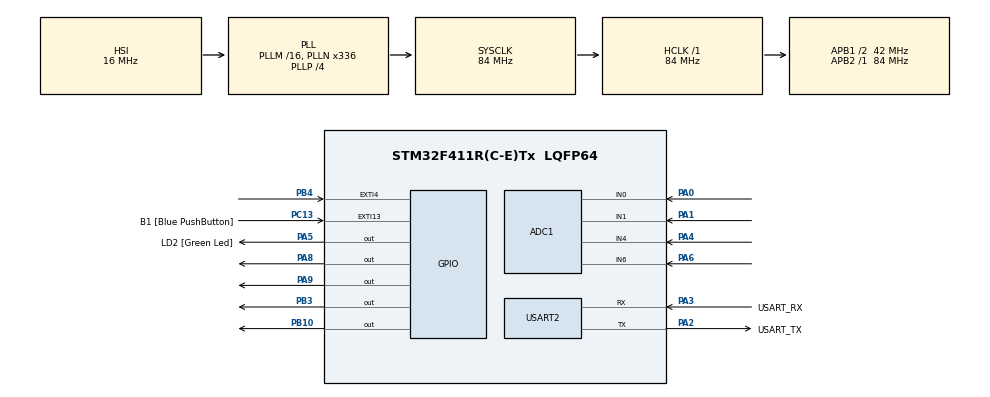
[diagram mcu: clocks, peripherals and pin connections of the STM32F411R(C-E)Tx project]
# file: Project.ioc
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ADC1.Channel-0\#ChannelRegularConversion=ADC_CHANNEL_0
ADC1.Channel-1\#ChannelRegularConversion=ADC_CHANNEL_1
ADC1.Channel-2\#ChannelRegularConversion=ADC_CHANNEL_4
ADC1.Channel-3\#ChannelRegularConversion=ADC_CHANNEL_6
ADC1.ContinuousConvMode=ENABLE
ADC1.NbrOfConversion=4
ADC1.NbrOfConversionFlag=1
ADC1.Rank-0\#ChannelRegularConversion=1
ADC1.Rank-1\#ChannelRegularConversion=2
ADC1.Rank-2\#ChannelRegularConversion=3
ADC1.Rank-3\#ChannelRegularConversion=4
ADC1.SamplingTime-0\#ChannelRegularConversion=ADC_SAMPLETIME_480CYCLES
ADC1.SamplingTime-1\#ChannelRegularConversion=ADC_SAMPLETIME_480CYCLES
ADC1.SamplingTime-2\#ChannelRegularConversion=ADC_SAMPLETIME_480CYCLES
ADC1.SamplingTime-3\#ChannelRegularConversion=ADC_SAMPLETIME_480CYCLES
ADC1.master=1
FREERTOS.Events01=myEvent01,Dynamic,NULL
FREERTOS.Mutexes01=myMutex01,Dynamic,NULL
FREERTOS.Queues01=myQueue01,8,struct valorADC,0,Dynamic,NULL,NULL
FREERTOS.Tasks01=defaultTask,24,256,StartDefaultTask,Default,NULL,Dynamic,NULL,NULL;myTask02,8,256,StartTask02,Default,NULL,Dynamic,NULL,NULL;myTask03,8,256,StartTask03,Default,NULL,Dynamic,NULL,NULL;myTask04,8,128,StartTask04,Default,NULL,Dynamic,NULL,NULL;myTask05,8,128,StartTask05,Default,NULL,Dynamic,NULL,NULL
Mcu.Family=STM32F4
Mcu.Name=STM32F411R(C-E)Tx
Mcu.Package=LQFP64
NVIC.EXTI4_IRQn=true\:5\:0\:false\:false\:true\:true\:true\:true
NVIC.PriorityGroup=NVIC_PRIORITYGROUP_4
NVIC.USART2_IRQn=true\:5\:0\:false\:false\:true\:true\:true\:true
PA0-WKUP.Signal=ADCx_IN0
PA1.Signal=ADCx_IN1
PA13.GPIO_Label=TMS
PA13.Mode=Serial_Wire
PA13.Signal=SYS_JTMS-SWDIO
PA14.GPIO_Label=TCK
PA14.Mode=Serial_Wire
PA14.Signal=SYS_JTCK-SWCLK
PA2.GPIO_Label=USART_TX
PA2.Mode=Asynchronous
PA2.Signal=USART2_TX
PA3.GPIO_Label=USART_RX
PA3.Mode=Asynchronous
PA3.Signal=USART2_RX
PA4.Signal=ADCx_IN4
PA5.GPIO_Label=LD2 [Green Led]
PA5.Signal=GPIO_Output
PA6.Signal=ADCx_IN6
PA8.Signal=GPIO_Output
PA9.Signal=GPIO_Output
PB10.Signal=GPIO_Output
PB3.Signal=GPIO_Output
PB4.GPIO_PuPd=GPIO_PULLUP
PB4.Signal=GPXTI4
PC13-ANTI_TAMP.GPIO_Label=B1 [Blue PushButton]
PC13-ANTI_TAMP.GPIO_ModeDefaultEXTI=GPIO_MODE_IT_FALLING
PC13-ANTI_TAMP.GPIO_PuPd=GPIO_PULLUP
PC13-ANTI_TAMP.Signal=GPXTI13
PC14-OSC32_IN.Mode=LSE-External-Oscillator
PC14-OSC32_IN.Signal=RCC_OSC32_IN
PC15-OSC32_OUT.Mode=LSE-External-Oscillator
PC15-OSC32_OUT.Signal=RCC_OSC32_OUT
PH0\ -\ OSC_IN.Mode=HSE-External-Clock-Source
PH0\ -\ OSC_IN.Signal=RCC_OSC_IN
PH1\ -\ OSC_OUT.Mode=HSE-External-Clock-Source
PH1\ -\ OSC_OUT.Signal=RCC_OSC_OUT
ProjectManager.HeapSize=0x200
ProjectManager.StackSize=0x400
ProjectManager.TargetToolchain=STM32CubeIDE
RCC.48MHZClocksFreq_Value=84000000
RCC.AHBFreq_Value=84000000
RCC.APB1CLKDivider=RCC_HCLK_DIV2
RCC.APB1Freq_Value=42000000
RCC.APB1TimFreq_Value=84000000
RCC.APB2Freq_Value=84000000
RCC.APB2TimFreq_Value=84000000
RCC.CortexFreq_Value=84000000
RCC.FLatency-AdvancedSettings=FLASH_LATENCY_2
RCC.HCLKFreq_Value=84000000
RCC.HSE_VALUE=8000000
RCC.HSI_VALUE=16000000
RCC.PLLN=336
RCC.PLLP=RCC_PLLP_DIV4
RCC.SYSCLKFreq_VALUE=84000000
RCC.SYSCLKSource=RCC_SYSCLKSOURCE_PLLCLK
RCC.VCOOutputFreq_Value=336000000
SH.ADCx_IN0.0=ADC1_IN0,IN0
SH.ADCx_IN1.0=ADC1_IN1,IN1
SH.ADCx_IN4.0=ADC1_IN4,IN4
SH.ADCx_IN6.0=ADC1_IN6,IN6
USART2.VirtualMode=VM_ASYNC
VP_FREERTOS_VS_CMSIS_V2.Mode=CMSIS_V2
board=NUCLEO-F411RE

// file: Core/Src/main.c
/* USER CODE BEGIN Header */
/**
  ******************************************************************************
  * @file           : main.c
  * @brief          : Main program body
  ******************************************************************************
  * @attention
  *
  * Copyright (c) 2022 STMicroelectronics.
  * All rights reserved.
  *
  * This software is licensed under terms that can be found in the LICENSE file
  * in the root directory of this software component.
  * If no LICENSE file comes with this software, it is provided AS-IS.
  *
  ******************************************************************************
  */
/* USER CODE END Header */
#include "main.h"
#include "cmsis_os.h"

/* USER CODE BEGIN Includes */
#include <math.h>
/* USER CODE END Includes */

/* USER CODE BEGIN PD */
#define PI 3.1415
/* USER CODE END PD */

ADC_HandleTypeDef hadc1;

UART_HandleTypeDef huart2;

/* Definitions for defaultTask */
osThreadId_t defaultTaskHandle;
const osThreadAttr_t defaultTask_attributes = {
  .name = "defaultTask",
  .stack_size = 256 * 4,
  .priority = (osPriority_t) osPriorityNormal,
};
/* Definitions for myTask02 */
osThreadId_t myTask02Handle;
const osThreadAttr_t myTask02_attributes = {
  .name = "myTask02",
  .stack_size = 256 * 4,
  .priority = (osPriority_t) osPriorityLow,
};
/* Definitions for myTask03 */
osThreadId_t myTask03Handle;
const osThreadAttr_t myTask03_attributes = {
  .name = "myTask03",
  .stack_size = 256 * 4,
  .priority = (osPriority_t) osPriorityLow,
};
/* Definitions for myTask04 */
osThreadId_t myTask04Handle;
const osThreadAttr_t myTask04_attributes = {
  .name = "myTask04",
  .stack_size = 128 * 4,
  .priority = (osPriority_t) osPriorityLow,
};
/* Definitions for myTask05 */
osThreadId_t myTask05Handle;
const osThreadAttr_t myTask05_attributes = {
  .name = "myTask05",
  .stack_size = 128 * 4,
  .priority = (osPriority_t) osPriorityLow,
};
/* Definitions for myQueue01 */
osMessageQueueId_t myQueue01Handle;
const osMessageQueueAttr_t myQueue01_attributes = {
  .name = "myQueue01"
};
/* Definitions for myMutex01 */
osMutexId_t myMutex01Handle;
const osMutexAttr_t myMutex01_attributes = {
  .name = "myMutex01"
};
/* Definitions for myEvent01 */
osEventFlagsId_t myEvent01Handle;
const osEventFlagsAttr_t myEvent01_attributes = {
  .name = "myEvent01"
};
/* USER CODE BEGIN PV */
int flag=0;
int flagread=0;
//Añadido para calcular aceleracion en Gs
#define Vref 3.3f
struct valorADC
{
	float ejeX;
	float ejeY;
	float ejeZ;
	float temperatura;
};
/* USER CODE END PV */

void SystemClock_Config(void);
static void MX_GPIO_Init(void);
static void MX_USART2_UART_Init(void);
static void MX_ADC1_Init(void);
void StartDefaultTask(void *argument);
void StartTask02(void *argument);
void StartTask03(void *argument);
void StartTask04(void *argument);
void StartTask05(void *argument);

/* USER CODE BEGIN 0 */
void led_on(uint8_t v)
{
	switch (v)
	{
		case 0:
			HAL_GPIO_WritePin(GPIOA, GPIO_PIN_8, 1);
			HAL_GPIO_WritePin(GPIOA, GPIO_PIN_9, 1);
			HAL_GPIO_WritePin(GPIOB, GPIO_PIN_3, 1);
			HAL_GPIO_WritePin(GPIOB, GPIO_PIN_10, 1);
			break;
		case 1:
			HAL_GPIO_WritePin(GPIOA, GPIO_PIN_9, 1);
			break;
		case 2:
			HAL_GPIO_WritePin(GPIOB, GPIO_PIN_3, 1);
			break;
		case 3:
			HAL_GPIO_WritePin(GPIOA, GPIO_PIN_8, 1);
			break;
		case 4:
			HAL_GPIO_WritePin(GPIOB, GPIO_PIN_10, 1);
			break;
		default:
			break;

	}
}

void led_off(uint8_t v)
{
	switch (v)
	{
		case 0:
			HAL_GPIO_WritePin(GPIOA, GPIO_PIN_8, 0);
			HAL_GPIO_WritePin(GPIOA, GPIO_PIN_9, 0);
			HAL_GPIO_WritePin(GPIOB, GPIO_PIN_3, 0);
			HAL_GPIO_WritePin(GPIOB, GPIO_PIN_10, 0);
			break;
		case 1:
			HAL_GPIO_WritePin(GPIOA, GPIO_PIN_9, 0);
			break;
		case 2:
			HAL_GPIO_WritePin(GPIOB, GPIO_PIN_3, 0);
			break;
		case 3:
			HAL_GPIO_WritePin(GPIOA, GPIO_PIN_8, 0);
			break;
		case 4:
			HAL_GPIO_WritePin(GPIOB, GPIO_PIN_10, 0);
			break;
		default:
			break;
	}
}
/* USER CODE END 0 */

int main(void)
{

  /* MCU Configuration--------------------------------------------------------*/

  /* Reset of all peripherals, Initializes the Flash interface and the Systick. */
  HAL_Init();

  /* Configure the system clock */
  SystemClock_Config();

  /* Initialize all configured peripherals */
  MX_GPIO_Init();
  MX_USART2_UART_Init();
  MX_ADC1_Init();
  /* USER CODE BEGIN 2 */
  __HAL_UART_ENABLE_IT(&huart2, UART_IT_TC);
  __HAL_UART_ENABLE_IT(&huart2, UART_IT_RXNE);
  /* USER CODE END 2 */

  /* Init scheduler */
  osKernelInitialize();
  /* Create the mutex(es) */
  /* creation of myMutex01 */
  myMutex01Handle = osMutexNew(&myMutex01_attributes);

  /* Create the queue(s) */
  /* creation of myQueue01 */
  myQueue01Handle = osMessageQueueNew (8, sizeof(struct valorADC), &myQueue01_attributes);

  /* Create the thread(s) */
  /* creation of defaultTask */
  defaultTaskHandle = osThreadNew(StartDefaultTask, NULL, &defaultTask_attributes);

  /* creation of myTask02 */
  myTask02Handle = osThreadNew(StartTask02, NULL, &myTask02_attributes);

  /* creation of myTask03 */
  myTask03Handle = osThreadNew(StartTask03, NULL, &myTask03_attributes);

  /* creation of myTask04 */
  myTask04Handle = osThreadNew(StartTask04, NULL, &myTask04_attributes);

  /* creation of myTask05 */
  myTask05Handle = osThreadNew(StartTask05, NULL, &myTask05_attributes);

  /* creation of myEvent01 */
  myEvent01Handle = osEventFlagsNew(&myEvent01_attributes);

  /* Start scheduler */
  osKernelStart();

  /* We should never get here as control is now taken by the scheduler */
  /* Infinite loop */
  while (1)
  {

  }
}

void SystemClock_Config(void)
{
  RCC_OscInitTypeDef RCC_OscInitStruct = {0};
  RCC_ClkInitTypeDef RCC_ClkInitStruct = {0};

  /** Configure the main internal regulator output voltage
  */
  __HAL_RCC_PWR_CLK_ENABLE();
  __HAL_PWR_VOLTAGESCALING_CONFIG(PWR_REGULATOR_VOLTAGE_SCALE1);
  /** Initializes the RCC Oscillators according to the specified parameters
  * in the RCC_OscInitTypeDef structure.
  */
  RCC_OscInitStruct.OscillatorType = RCC_OSCILLATORTYPE_HSI;
  RCC_OscInitStruct.HSIState = RCC_HSI_ON;
  RCC_OscInitStruct.HSICalibrationValue = RCC_HSICALIBRATION_DEFAULT;
  RCC_OscInitStruct.PLL.PLLState = RCC_PLL_ON;
  RCC_OscInitStruct.PLL.PLLSource = RCC_PLLSOURCE_HSI;
  RCC_OscInitStruct.PLL.PLLM = 16;
  RCC_OscInitStruct.PLL.PLLN = 336;
  RCC_OscInitStruct.PLL.PLLP = RCC_PLLP_DIV4;
  RCC_OscInitStruct.PLL.PLLQ = 4;
  if (HAL_RCC_OscConfig(&RCC_OscInitStruct) != HAL_OK)
  {
    Error_Handler();
  }
  /** Initializes the CPU, AHB and APB buses clocks
  */
  RCC_ClkInitStruct.ClockType = RCC_CLOCKTYPE_HCLK|RCC_CLOCKTYPE_SYSCLK
                              |RCC_CLOCKTYPE_PCLK1|RCC_CLOCKTYPE_PCLK2;
  RCC_ClkInitStruct.SYSCLKSource = RCC_SYSCLKSOURCE_PLLCLK;
  RCC_ClkInitStruct.AHBCLKDivider = RCC_SYSCLK_DIV1;
  RCC_ClkInitStruct.APB1CLKDivider = RCC_HCLK_DIV2;
  RCC_ClkInitStruct.APB2CLKDivider = RCC_HCLK_DIV1;

  if (HAL_RCC_ClockConfig(&RCC_ClkInitStruct, FLASH_LATENCY_2) != HAL_OK)
  {
    Error_Handler();
  }
}

static void MX_ADC1_Init(void)
{

  ADC_ChannelConfTypeDef sConfig = {0};

  /** Configure the global features of the ADC (Clock, Resolution, Data Alignment and number of conversion)
  */
  hadc1.Instance = ADC1;
  hadc1.Init.ClockPrescaler = ADC_CLOCK_SYNC_PCLK_DIV4;
  hadc1.Init.Resolution = ADC_RESOLUTION_12B;
  hadc1.Init.ScanConvMode = ENABLE;
  hadc1.Init.ContinuousConvMode = ENABLE;
  hadc1.Init.DiscontinuousConvMode = DISABLE;
  hadc1.Init.ExternalTrigConvEdge = ADC_EXTERNALTRIGCONVEDGE_NONE;
  hadc1.Init.ExternalTrigConv = ADC_SOFTWARE_START;
  hadc1.Init.DataAlign = ADC_DATAALIGN_RIGHT;
  hadc1.Init.NbrOfConversion = 4;
  hadc1.Init.DMAContinuousRequests = DISABLE;
  hadc1.Init.EOCSelection = ADC_EOC_SINGLE_CONV;
  if (HAL_ADC_Init(&hadc1) != HAL_OK)
  {
    Error_Handler();
  }
  /** Configure for the selected ADC regular channel its corresponding rank in the sequencer and its sample time.
  */
  sConfig.Channel = ADC_CHANNEL_0;
  sConfig.Rank = 1;
  sConfig.SamplingTime = ADC_SAMPLETIME_480CYCLES;
  if (HAL_ADC_ConfigChannel(&hadc1, &sConfig) != HAL_OK)
  {
    Error_Handler();
  }
  /** Configure for the selected ADC regular channel its corresponding rank in the sequencer and its sample time.
  */
  sConfig.Channel = ADC_CHANNEL_1;
  sConfig.Rank = 2;
  if (HAL_ADC_ConfigChannel(&hadc1, &sConfig) != HAL_OK)
  {
    Error_Handler();
  }
  /** Configure for the selected ADC regular channel its corresponding rank in the sequencer and its sample time.
  */
  sConfig.Channel = ADC_CHANNEL_4;
  sConfig.Rank = 3;
  if (HAL_ADC_ConfigChannel(&hadc1, &sConfig) != HAL_OK)
  {
    Error_Handler();
  }
  /** Configure for the selected ADC regular channel its corresponding rank in the sequencer and its sample time.
  */
  sConfig.Channel = ADC_CHANNEL_6;
  sConfig.Rank = 4;
  if (HAL_ADC_ConfigChannel(&hadc1, &sConfig) != HAL_OK)
  {
    Error_Handler();
  }

}

static void MX_USART2_UART_Init(void)
{

  huart2.Instance = USART2;
  huart2.Init.BaudRate = 115200;
  huart2.Init.WordLength = UART_WORDLENGTH_8B;
  huart2.Init.StopBits = UART_STOPBITS_1;
  huart2.Init.Parity = UART_PARITY_NONE;
  huart2.Init.Mode = UART_MODE_TX_RX;
  huart2.Init.HwFlowCtl = UART_HWCONTROL_NONE;
  huart2.Init.OverSampling = UART_OVERSAMPLING_16;
  if (HAL_UART_Init(&huart2) != HAL_OK)
  {
    Error_Handler();
  }

}

static void MX_GPIO_Init(void)
{
  GPIO_InitTypeDef GPIO_InitStruct = {0};

  /* GPIO Ports Clock Enable */
  __HAL_RCC_GPIOC_CLK_ENABLE();
  __HAL_RCC_GPIOH_CLK_ENABLE();
  __HAL_RCC_GPIOA_CLK_ENABLE();
  __HAL_RCC_GPIOB_CLK_ENABLE();

  /*Configure GPIO pin Output Level */
  HAL_GPIO_WritePin(GPIOA, LD2_Pin|GPIO_PIN_8|GPIO_PIN_9, GPIO_PIN_RESET);

  /*Configure GPIO pin Output Level */
  HAL_GPIO_WritePin(GPIOB, GPIO_PIN_10|GPIO_PIN_3, GPIO_PIN_RESET);

  /*Configure GPIO pin : B1_Pin */
  GPIO_InitStruct.Pin = B1_Pin;
  GPIO_InitStruct.Mode = GPIO_MODE_IT_FALLING;
  GPIO_InitStruct.Pull = GPIO_PULLUP;
  HAL_GPIO_Init(B1_GPIO_Port, &GPIO_InitStruct);

  /*Configure GPIO pins : LD2_Pin PA8 PA9 */
  GPIO_InitStruct.Pin = LD2_Pin|GPIO_PIN_8|GPIO_PIN_9;
  GPIO_InitStruct.Mode = GPIO_MODE_OUTPUT_PP;
  GPIO_InitStruct.Pull = GPIO_NOPULL;
  GPIO_InitStruct.Speed = GPIO_SPEED_FREQ_LOW;
  HAL_GPIO_Init(GPIOA, &GPIO_InitStruct);

  /*Configure GPIO pins : PB10 PB3 */
  GPIO_InitStruct.Pin = GPIO_PIN_10|GPIO_PIN_3;
  GPIO_InitStruct.Mode = GPIO_MODE_OUTPUT_PP;
  GPIO_InitStruct.Pull = GPIO_NOPULL;
  GPIO_InitStruct.Speed = GPIO_SPEED_FREQ_LOW;
  HAL_GPIO_Init(GPIOB, &GPIO_InitStruct);

  /*Configure GPIO pin : PB4 */
  GPIO_InitStruct.Pin = GPIO_PIN_4;
  GPIO_InitStruct.Mode = GPIO_MODE_IT_RISING;
  GPIO_InitStruct.Pull = GPIO_PULLUP;
  HAL_GPIO_Init(GPIOB, &GPIO_InitStruct);

  /* EXTI interrupt init*/
  HAL_NVIC_SetPriority(EXTI4_IRQn, 5, 0);
  HAL_NVIC_EnableIRQ(EXTI4_IRQn);

}

/* USER CODE BEGIN 4 */
void HAL_UART_TxCpltCallback(UART_HandleTypeDef * huart)
{
	flag=1;
}
/* USER CODE END 4 */

void StartDefaultTask(void *argument)
{
  /* USER CODE BEGIN 5 */
  /* Infinite loop */
	while(1)
  {
		if (!HAL_GPIO_ReadPin(GPIOB, GPIO_PIN_4)) //pulsador externo
		{
			osEventFlagsSet(myEvent01Handle, 0x01);
			flagread = 1;
		}
		if (!HAL_GPIO_ReadPin(GPIOC, GPIO_PIN_13)) //pulsador interno
		{
			osEventFlagsSet(myEvent01Handle, 0x02);
			flagread = 0;
		}
	osDelay(10);
  }
  /* USER CODE END 5 */
}

void StartTask02(void *argument)
{
  /* USER CODE BEGIN StartTask02 */
  /* Infinite loop */
  struct valorADC dato;
  HAL_StatusTypeDef  status;
  uint8_t buffer[50];
  //Añadidas las siguientes variables
  float Axout, Ayout, Azout, angle_x, angle_y, angle_z;
  while (1)
  {
	 if (osMessageQueueGetCount(myQueue01Handle) < 25)
	 {
		 if (flagread)
		 {
			HAL_ADC_Start (& hadc1); /*  INICIO  */
			status = HAL_ADC_PollForConversion (&hadc1 , 1);
			if(status  ==  HAL_OK)
			{
				dato.temperatura = HAL_ADC_GetValue (& hadc1);
				dato.temperatura = dato.temperatura*(3.3/4095); //Voltios
				dato.temperatura = (dato.temperatura-0.5)/0.01; //Grados centigrados
			}
			status = HAL_ADC_PollForConversion (&hadc1 , 1);
			if(status  ==  HAL_OK)
			{
				dato.ejeX = HAL_ADC_GetValue (& hadc1);
				//Añadido para conversion
				Axout = (((dato.ejeX * Vref)/4095)-1.6)/0.32;
			}
			status = HAL_ADC_PollForConversion (&hadc1 , 1);
			if(status  ==  HAL_OK)
			{
				dato.ejeY = HAL_ADC_GetValue (& hadc1);
				//Añadido para conversion
				Ayout = (((dato.ejeY * Vref)/4095)-1.6)/0.32;
			}
			status = HAL_ADC_PollForConversion (&hadc1 , 1);
			if(status  ==  HAL_OK)
			{
				dato.ejeZ = HAL_ADC_GetValue (& hadc1);
				//Añadido para conversion
				Azout = (((dato.ejeZ * Vref)/4095)-1.7)/0.32;
			}
      angle_x = atan2(Axout,(sqrt(pow(Ayout,2)+pow(Azout,2))))*(180/PI);//en grados, formula sacada de internet
			angle_y = atan2(Ayout,(sqrt(pow(Axout,2)+pow(Azout,2))))*(180/PI); //en grados, formula sacada de internet
			angle_z = atan2((sqrt(pow(Axout,2)+pow(Ayout,2))),Azout)*(180/PI);  //en grados, formula sacada de internet
			dato.ejeX = angle_x;
			dato.ejeY = angle_y;
			dato.ejeZ = angle_z;
			osMessageQueuePut(myQueue01Handle, &dato, 0, osWaitForever);
			HAL_ADC_Stop (& hadc1); /* FIN */
		 }
	 }
  }
  /* USER CODE END StartTask02 */
}

void StartTask03(void *argument)
{
  /* USER CODE BEGIN StartTask03 */
  /* Infinite loop */
  struct valorADC variable2;
  uint8_t buffer[50];
  while(1)
  {
	osMessageQueueGet(myQueue01Handle, &variable2, 0, osWaitForever);
	sprintf(buffer, "Valor X %f, valor Y %f, valor Z %f, valor temperatura %f\n\r", variable2.ejeX, variable2.ejeY, variable2.ejeZ, variable2.temperatura);
	HAL_UART_Transmit_IT(&huart2, buffer, strlen(buffer)-1);
	while( !flag );
	flag=0;
	osDelay(1000);
  }
  /* USER CODE END StartTask03 */
}

void StartTask04(void *argument)
{
  /* USER CODE BEGIN StartTask04 */
  /* Infinite loop */
  while (1)
  { int i;
    osEventFlagsWait(myEvent01Handle, 0x01, osFlagsWaitAny, osWaitForever);
    osMutexAcquire(myMutex01Handle, osWaitForever);
    for (i=1;i<5;i++)
    {
    led_on(i);
    osDelay(1000);
    }
    for (i=1;i<5;i++)
    {
    led_off(i);
    osDelay(1000);
    }
    led_on(0);
    osDelay(1000);
    led_off(0);
    osDelay(1000);
    osMutexRelease(myMutex01Handle);
    osDelay(1000);
  }
  /* USER CODE END StartTask04 */
}

void StartTask05(void *argument)
{
  /* USER CODE BEGIN StartTask05 */
  /* Infinite loop */
  while(1)
  {
	osEventFlagsWait(myEvent01Handle, 0x02, osFlagsWaitAny, osWaitForever);
	osMutexAcquire(myMutex01Handle, osWaitForever);
	led_on(1);
	led_on(3);
	osDelay(1000);
	led_off(2);
	led_off(4);
	osDelay(1000);
	osMutexRelease(myMutex01Handle);
	osDelay(1000);
  }
  /* USER CODE END StartTask05 */
}

void Error_Handler(void)
{
  __disable_irq();
  while (1)
  {
  }
}
